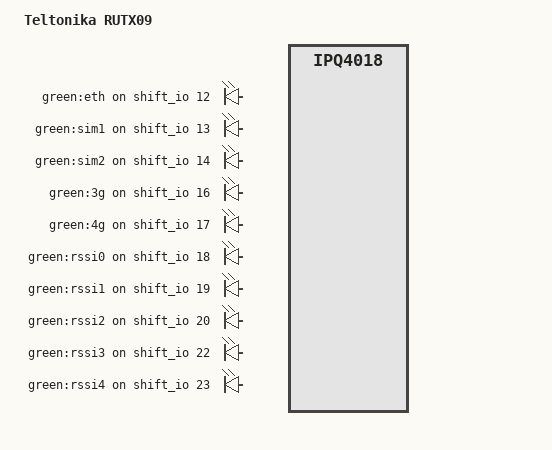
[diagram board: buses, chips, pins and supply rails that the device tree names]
// SPDX-License-Identifier: GPL-2.0-or-later OR MIT

#include "qcom-ipq4018-rutx-shiftreg.dtsi"

/ {
	model = "Teltonika RUTX09";
	compatible = "teltonika,rutx09";

	aliases {
		led-boot = &led_rssi0;
		led-failsafe = &led_rssi0;
		led-running = &led_rssi0;
		led-upgrade = &led_rssi0;
	};

	soc {
		gpio-export {
			gpio_out {
				gpio-export,name = "gpio_out";
				gpio-export,output = <0>;
				gpios = <&shift_io 0 GPIO_ACTIVE_HIGH>;
			};

			gpio_modem_reset {
				gpio-export,name = "modem_reset";
				gpio-export,output = <0>;
				gpios = <&shift_io 1 GPIO_ACTIVE_HIGH>;
			};

			gpio_modem_power {
				gpio-export,name = "modem_power";
				gpio-export,output = <0>;
				gpios = <&shift_io 2 GPIO_ACTIVE_HIGH>;
			};

			gpio_sim_select {
				gpio-export,name = "sim_sel";
				/* 0 = SIM1 ; 1 = SIM2 */
				gpio-export,output = <0>;
				gpios = <&shift_io 3 GPIO_ACTIVE_HIGH>;
			};

			gpio_sim_select2 {
				gpio-export,name = "sim_sel2";
				gpio-export,output = <0>;
				gpios = <&shift_io 7 GPIO_ACTIVE_HIGH>;
			};

			gpio_tpm_reset {
				gpio-export,name = "tpm_reset";
				gpio-export,output = <1>;
				gpios = <&shift_io 10 GPIO_ACTIVE_HIGH>;
			};
		};

		leds {
			compatible = "gpio-leds";

			led-0 {
				label = "green:eth";
				gpios = <&shift_io 12 GPIO_ACTIVE_HIGH>;
			};

			led-1 {
				label = "green:sim1";
				gpios = <&shift_io 13 GPIO_ACTIVE_HIGH>;
			};

			led-2 {
				label = "green:sim2";
				gpios = <&shift_io 14 GPIO_ACTIVE_HIGH>;
			};

			led-3 {
				label = "green:3g";
				gpios = <&shift_io 16 GPIO_ACTIVE_HIGH>;
			};

			led-4 {
				label = "green:4g";
				gpios = <&shift_io 17 GPIO_ACTIVE_HIGH>;
			};

			led_rssi0: led-5 {
				label = "green:rssi0";
				gpios = <&shift_io 18 GPIO_ACTIVE_HIGH>;
			};

			led-6 {
				label = "green:rssi1";
				gpios = <&shift_io 19 GPIO_ACTIVE_HIGH>;
			};

			led-7 {
				label = "green:rssi2";
				gpios = <&shift_io 20 GPIO_ACTIVE_HIGH>;
			};

			led-8 {
				label = "green:rssi3";
				gpios = <&shift_io 22 GPIO_ACTIVE_HIGH>;
			};

			led-9 {
				label = "green:rssi4";
				gpios = <&shift_io 23 GPIO_ACTIVE_HIGH>;
			};
		};
	};
};
